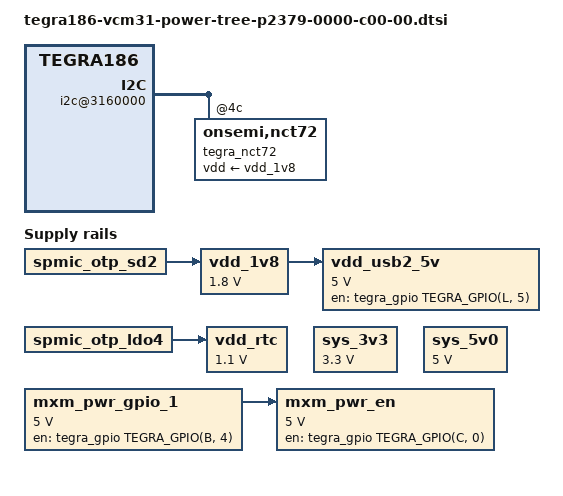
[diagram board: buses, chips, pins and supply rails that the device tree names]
/*
 * Copyright (c) 2016, NVIDIA CORPORATION.  All rights reserved.
 *
 * This program is free software; you can redistribute it and/or modify
 * it under the terms of the GNU General Public License as published by
 * the Free Software Foundation; either version 2 of the License, or
 * (at your option) any later version.
 *
 * This program is distributed in the hope that it will be useful, but WITHOUT
 * ANY WARRANTY; without even the implied warranty of MERCHANTABILITY or
 * FITNESS FOR A PARTICULAR PURPOSE.  See the GNU General Public License for
 * more details.
 */

#include "tegra186-platforms/tegra186-vcm31-spmic-p2379-0000-c00-00.dtsi"

/ {
	ether_qos@2490000 {
		vddio_sys_enet_bias-supply = <&vdd_1v8>;
		vddio_enet-supply = <&spmic_otp_sd3>;
		phy_vdd_1v8-supply = <&vdd_1v8>;
		phy_ovdd_rgmii-supply = <&spmic_otp_sd3>;
		phy_pllvdd-supply = <&spmic_otp_sd3>;
	};

        host1x {
		nvdisplay@15200000 {
			vdd_hdmi_5v0-supply = <&sys_5v0>;
			vdd-dp-pad-supply = <&spmic_otp_ldo7>;
			vdd-edp-sec-mode-supply = <&spmic_otp_ldo7>;
			vdd-dp-pwr-supply = <&sys_3v3>;
			avdd-dp-pll-supply = <&vdd_1v8>;
			avdd_dsi_csi-supply = <&spmic_otp_sd1>;
			avdd_hdmi-supply = <&spmic_otp_ldo7>;
			avdd_hdmi_pll-supply = <&vdd_1v8>;
		};
		nvdisplay@15210000 {
			vdd_hdmi_5v0-supply = <&sys_5v0>;
			vdd-dp-pad-supply = <&spmic_otp_ldo7>;
			vdd-edp-sec-mode-supply = <&spmic_otp_ldo7>;
			vdd-dp-pwr-supply = <&sys_3v3>;
			avdd-dp-pll-supply = <&vdd_1v8>;
			avdd_dsi_csi-supply = <&spmic_otp_sd1>;
			avdd_hdmi-supply = <&spmic_otp_ldo7>;
			avdd_hdmi_pll-supply = <&vdd_1v8>;
		};
		nvdisplay@15220000 {
			vdd_hdmi_5v0-supply = <&sys_5v0>;
			vdd-dp-pad-supply = <&spmic_otp_ldo7>;
			vdd-edp-sec-mode-supply = <&spmic_otp_ldo7>;
			vdd-dp-pwr-supply = <&sys_3v3>;
			avdd-dp-pll-supply = <&vdd_1v8>;
			avdd_hdmi-supply = <&spmic_otp_ldo7>;
			avdd_hdmi_pll-supply = <&vdd_1v8>;
		};
		nvcsi@150c0000 {
			nvidia,csi_regulator = "vdd";
			vdd-supply = <&spmic_otp_sd1>;
		};
        };

	sdhci@3460000 { /* SDMMC_D/4 */
		vddio_sdmmc-supply = <&vdd_1v8>;
	};

	xhci@3530000 {
		avddio_usb-supply = <&spmic_otp_sd3>;
		avdd_pll_utmip-supply = <&vdd_1v8>;
		hvdd_usb-supply =  <&vdd_1v8>;
	};

	xudc@3550000 {
		avdd-usb-supply = <&spmic_otp_sd3>;
		dvdd-pex-supply = <&spmic_otp_ldo7>;
		hvdd-pex-supply =  <&vdd_1v8>;
		dvdd-pex-pll-supply = <&spmic_otp_ldo7>;
		hvdd-pex-pll-supply = <&vdd_1v8>;
	};

	pcie-controller@10003000 {
		dvdd-pex-supply = <&spmic_otp_ldo7>;
		hvdd-pex-pll-supply = <&vdd_1v8>;
		hvdd-pex-supply = <&vdd_1v8>;
		vddio-pexctl-aud-supply = <&vdd_1v8>;
	};

	pinctrl@3520000 {
		vbus-2-supply = <&vdd_usb2_5v>;
		vddio-hsic-supply = <&spmic_otp_sd1>;
		hvdd_pex_pll-supply = <&vdd_1v8>;
		hvdd_pex-supply = <&vdd_1v8>;
		dvdd_pex-supply = <&spmic_otp_ldo7>;
		avdd_usb-supply = <&spmic_otp_sd3>;
		vclamp_usb-supply = <&vdd_1v8>;
		avdd_pll_erefeut-supply = <&spmic_otp_ldo0>;
	};

	i2c@3160000 { /* Tegra I2C1 - VCM I2CA */
		tegra_nct72: onsemi,nct72@4c {
			vdd-supply = <&vdd_1v8>;
		};
	};

	pmc-iopower {
		iopower-sys-supply = <&spmic_otp_ldo6>;
		iopower-uart-supply = <&vdd_1v8>;
		iopower-conn-supply = <&vdd_1v8>;
		iopower-edp-supply = <&vdd_1v8>;
		iopower-pex-ctrl-audio-supply = <&vdd_1v8>;
		iopower-ufs-supply = <&spmic_otp_sd1>;
		iopower-ddr0-supply = <&spmic_otp_sd0>;
		iopower-ddr1-supply = <&spmic_otp_sd0>;
		iopower-csi-dsi-supply = <&spmic_otp_sd1>;
		iopower-cam-supply = <&vdd_1v8>;
		iopower-sdmmc4-supply = <&vdd_1v8>;
		iopower-audio-hv-supply = <&spmic_otp_sd3>;
		iopower-dbg-supply = <&vdd_1v8>;
		iopower-spi-supply = <&vdd_1v8>;
		iopower-ao-supply = <&spmic_otp_ldo6>;
		iopower-ao-hv-supply = <&spmic_otp_ldo2>;
		iopower-dmic-hv-supply =  <&spmic_otp_sd3>;
		iopower-sdmmc2-hv-supply = <&spmic_otp_sd3>;
	};

	pwm-fan {
		vdd-fan-supply = <&sys_5v0>;
	};

	fixed-regulators {
		sys_3v3: regulator@0 {
			compatible = "regulator-fixed";
			reg = <0>;
			regulator-name = "sys-3v3";
			regulator-min-microvolt = <3300000>;
			regulator-max-microvolt = <3300000>;
			regulator-always-on;
		};

		sys_5v0: regulator@1 {
			compatible = "regulator-fixed";
			reg = <1>;
			regulator-name = "sys-5v0";
			regulator-min-microvolt = <5000000>;
			regulator-max-microvolt = <5000000>;
			regulator-always-on;
		};

		vdd_1v8: regulator@2 {
			compatible = "regulator-fixed-sync";
			reg = <2>;
			regulator-name = "vdd-1v8";
			regulator-min-microvolt = <1800000>;
			regulator-max-microvolt = <1800000>;
			vin-supply = <&spmic_otp_sd2>;
			regulator-always-on;
			enable-active-high;
		};

		vdd_rtc: regulator@3 {
			compatible = "regulator-fixed-sync";
			reg = <3>;
			regulator-name = "vdd-rtc";
			regulator-min-microvolt = <1100000>;
			regulator-max-microvolt = <1100000>;
			vin-supply = <&spmic_otp_ldo4>;
			regulator-always-on;
		};

		vdd_usb2_5v: regulator@4 {
			compatible = "regulator-fixed-sync";
			reg = <4>;
			regulator-name = "vdd-usb2-5v";
			regulator-min-microvolt = <5000000>;
			regulator-max-microvolt = <5000000>;
			gpio = <&tegra_gpio TEGRA_GPIO(L, 5) 0>;
			enable-active-high;
			vin-supply = <&vdd_1v8>;
		};
		mxm_pwr_gpio_1: regulator@5 {
			compatible = "regulator-fixed-sync";
			reg = <5>;
			regulator-name = "mxm-pwr-gpio-1";
			regulator-min-microvolt = <5000000>;
			regulator-max-microvolt = <5000000>;
			gpio = <&tegra_gpio TEGRA_GPIO(B, 4) 0>;
			startup-delay-us = <100000>;	/* 100 ms */
			enable-active-high;
			regulator-always-on;
		};
		mxm_pwr_en: regulator@6 {
			compatible = "regulator-fixed-sync";
			reg = <6>;
			regulator-name = "mxm-pwr_en";
			regulator-min-microvolt = <5000000>;
			regulator-max-microvolt = <5000000>;
			gpio = <&tegra_gpio TEGRA_GPIO(C, 0) 0>;
			startup-delay-us = <100000>;	/* 100 ms */
			enable-active-high;
			regulator-always-on;
			vin-supply = <&mxm_pwr_gpio_1>;
		};
	};
};
